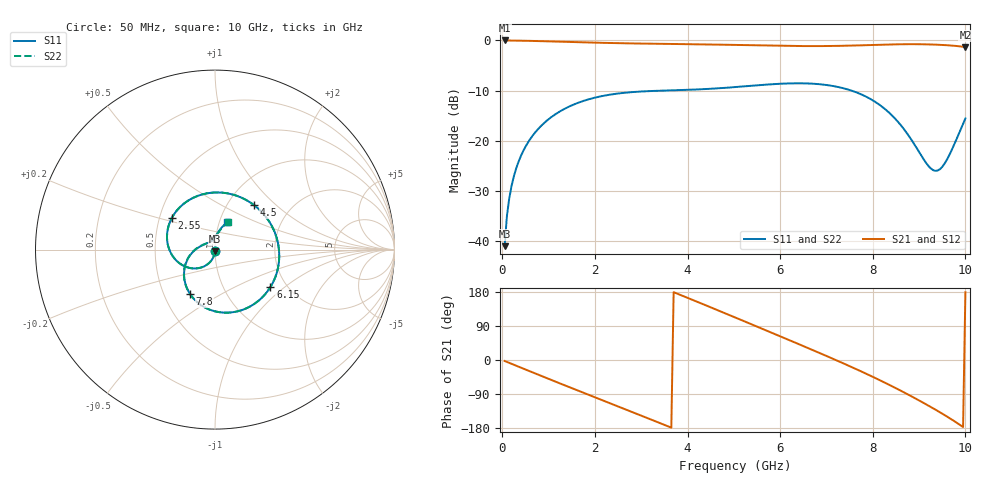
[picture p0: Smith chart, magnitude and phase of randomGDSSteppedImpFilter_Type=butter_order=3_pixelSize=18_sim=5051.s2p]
! freq	dB(S11)	phase(S11)	dB(S12)	phase(S12)
!  dB(S21)	phase(S21)	dB(S22)	phase(S22)
!S-par simulation data
#  GHz  S  DB  R 50
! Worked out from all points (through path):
!   200 points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, 50 MHz to 10 GHz, reference 50 ohm
!   highest |S21| = 0.00 dB at 50 MHz (marker M1); lowest = -1.3 dB at 10 GHz (marker M2)
!   group delay of S21, straight-line fit = 145 ps
!   lowest |S11| = -41.0 dB at 50 MHz (marker M3), VSWR 1.02, Z = 50 - j0.89 ohm
!   |S11| at or under -10 dB: start of sweep to 3.451 GHz; 7.541 GHz to end of sweep
!   |S22| runs from -41.0 to -8.5 dB; largest |S21 - S12| = 0
!   S11 on the Smith chart (normalised r, x): 50 MHz: 1.00, -0.02; 2.55 GHz: 0.58, +0.22; 4.5 GHz: 1.33, +0.74; 6.15 GHz: 1.65, -0.80; 7.8 GHz: 0.68, -0.36; 10 GHz: 1.09, +0.34
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0.05  -40.99 -92.2  -0.00 -2.5  -0.00 -2.5  -40.99 -92.2
0.1  -34.98 -95.0  -0.01 -5.1  -0.01 -5.1  -34.98 -95.0
0.2  -28.98 -100.2  -0.02 -10.1  -0.02 -10.1  -28.98 -100.2
0.5  -21.19 -115.5  -0.07 -25.0  -0.07 -25.0  -21.19 -115.5
1.15  -14.68 -147.9  -0.22 -57.1  -0.22 -57.1  -14.68 -147.9
1.75  -12.06 -177.2  -0.38 -86.3  -0.38 -86.3  -12.06 -177.2
2.15  -11.09 163.4  -0.47 -105.6  -0.47 -105.6  -11.09 163.4
2.55  -10.52 144.1  -0.55 -124.9  -0.55 -124.9  -10.52 144.1
3.4  -10.02 102.9  -0.67 -166.3  -0.67 -166.3  -10.02 102.9
3.95  -9.86 75.9  -0.74 166.6  -0.74 166.6  -9.86 75.9
4.5  -9.63 48.5  -0.81 139.0  -0.81 139.0  -9.63 48.5
5.05  -9.28 21.0  -0.90 111.1  -0.90 111.1  -9.28 21.0
5.6  -8.87 -6.5  -1.00 83.1  -1.00 83.1  -8.87 -6.6
6.15  -8.57 -34.1  -1.09 54.9  -1.09 54.9  -8.57 -34.2
6.7  -8.62 -61.8  -1.13 26.4  -1.13 26.4  -8.62 -61.9
7.25  -9.27 -90.0  -1.08 -2.6  -1.08 -2.6  -9.28 -90.2
7.8  -10.95 -119.4  -0.96 -32.9  -0.96 -32.9  -10.96 -119.7
8.35  -14.36 -150.9  -0.81 -65.2  -0.81 -65.2  -14.37 -151.4
8.85  -20.00 176.1  -0.74 -96.8  -0.74 -96.8  -20.01 174.7
9.35  -25.98 122.2  -0.83 -130.8  -0.83 -130.8  -25.87 119.2
9.6  -23.78 93.4  -0.95 -149.0  -0.95 -149.0  -23.64 91.1
10  -15.55 66.2  -1.34 178.8  -1.34 178.8  -15.49 65.0
